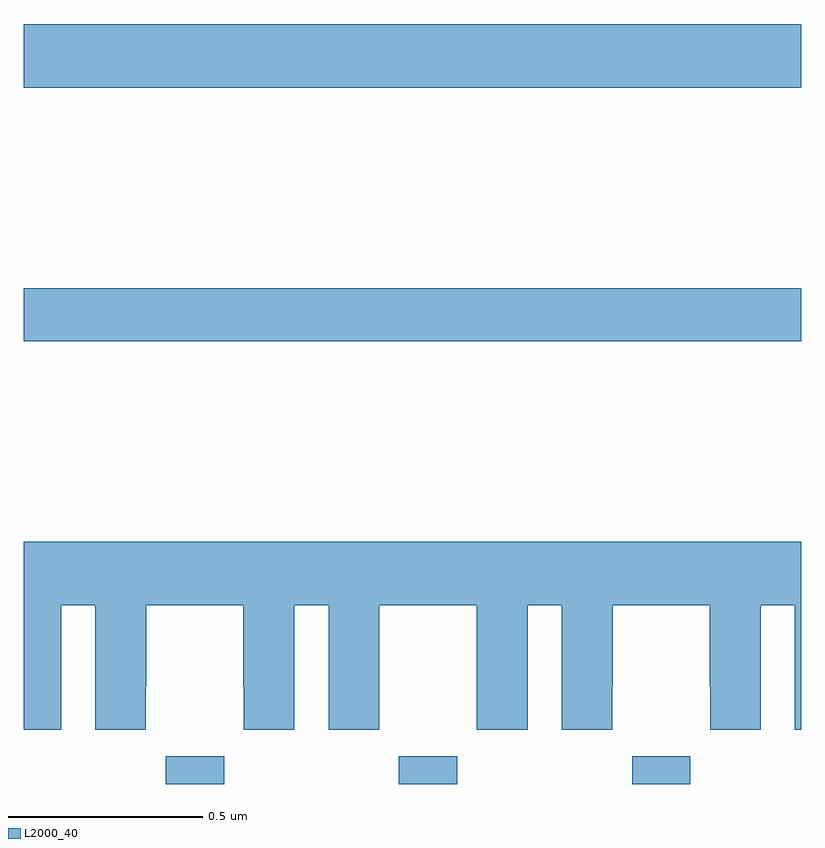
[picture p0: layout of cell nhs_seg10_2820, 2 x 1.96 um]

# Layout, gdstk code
import gdstk
lib = gdstk.Library(unit=1e-6, precision=1e-09)
def R(c, l, rs):  # rectangles x0, y0, x1, y1
    for r in rs: c.add(gdstk.rectangle(r[:2], r[2:], *l))
def A(c, l, x, y, w, h, nx, ny, dx, dy):  # array of equal rectangles
    R(c, l, [(x+i*dx, y+j*dy, x+i*dx+w, y+j*dy+h) for i in range(nx) for j in range(ny)])
def P(c, l, *ps):  # polygons
    for p in ps: c.add(gdstk.Polygon(p, *l))
L2000_40 = (2000, 40)

nhs_seg10_2820 = lib.new_cell('nhs_seg10_2820')
A(nhs_seg10_2820, L2000_40, 145.365, 1322.5, 0.15, 0.072, 3, 1, 0.6, 0)
R(nhs_seg10_2820, L2000_40, [(145,1323.64,147,1323.776), (145,1324.292,147,1324.456)])
P(nhs_seg10_2820, L2000_40, [(145,1322.64),(145.096,1322.64),(145.096,1322.96),(145.184,1322.96),(145.184,1322.64),(145.314,1322.64),(145.314,1322.752),(145.315,1322.752),(145.315,1322.96),(145.565,1322.96),(145.565,1322.752),(145.566,1322.752),(145.566,1322.64),(145.696,1322.64),(145.696,1322.96),(145.784,1322.96),(145.784,1322.64),(145.914,1322.64),(145.914,1322.752),(145.915,1322.752),(145.915,1322.96),(146.165,1322.96),(146.165,1322.752),(146.166,1322.752),(146.166,1322.64),(146.296,1322.64),(146.296,1322.96),(146.384,1322.96),(146.384,1322.64),(146.514,1322.64),(146.514,1322.752),(146.515,1322.752),(146.515,1322.96),(146.765,1322.96),(146.765,1322.752),(146.766,1322.752),(146.766,1322.64),(146.896,1322.64),(146.896,1322.96),(146.984,1322.96),(146.984,1322.64),(147,1322.64),(147,1323.124),(145,1323.124)])

lib.write_gds('nhs_seg10_2820.gds')
